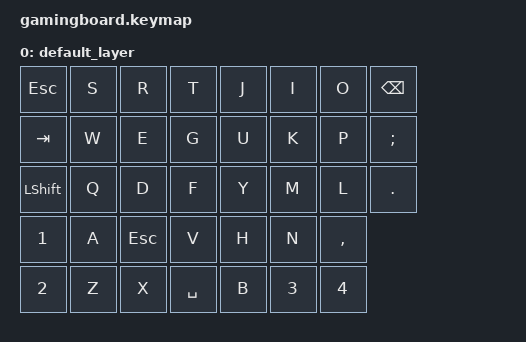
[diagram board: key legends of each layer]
#include <behaviors.dtsi>
#include <dt-bindings/zmk/keys.h>

/ {
    keymap {
        compatible = "zmk,keymap";

        default_layer {
            // | f2  | prv | pau | nxt | nxt | nxt | nxt | nxt | nxt | nxt | nxt | nxt |
            // | vup |  7  |  8  |  9  | nxt | nxt | nxt | nxt | nxt | nxt | nxt |
            // | vdn |  4  |  5  |  6  | nxt | nxt | nxt | nxt | nxt | nxt |
            // | mut |  1  |  2  |  3  |
            // | mFN | bkp |  0  | ent |

            bindings = <
&kp ESC    &kp S  &kp R    &kp T      &kp J  &kp I   &kp O      &kp BSPC
&kp TAB    &kp W  &kp E    &kp G      &kp U  &kp K   &kp P      &kp SEMI
&kp LSHFT  &kp Q  &kp D    &kp F      &kp Y  &kp M   &kp L      &kp DOT
&kp N1     &kp A  &kp ESC  &kp V      &kp H  &kp N   &kp COMMA
&kp N2     &kp Z  &kp X    &kp SPACE  &kp B  &kp N3  &kp N4
            >;
        };
    };
};
